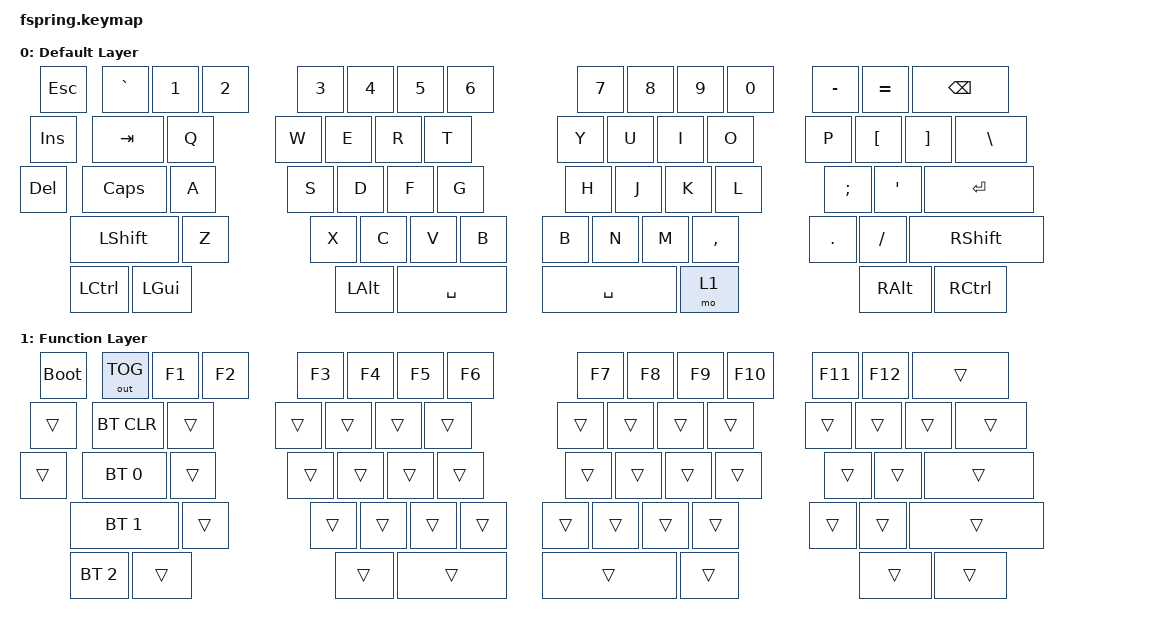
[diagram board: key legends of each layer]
/*
 * Copyright (c) 2021 The ZMK Contributors
 *
 * SPDX-License-Identifier: MIT
 */

#include <behaviors.dtsi>
#include <dt-bindings/zmk/keys.h>
#include <dt-bindings/zmk/bt.h>
#include <dt-bindings/zmk/outputs.h>

/ {
        keymap {
                compatible = "zmk,keymap";

                default_layer {
                        display-name = "Default Layer";

                        bindings = <
   &kp ESC      &kp GRAVE    &kp N1       &kp N2       &kp N3       &kp N4       &kp N5       &kp N6                 &kp N7      &kp N8      &kp N9       &kp N0       &kp MINUS    &kp EQUAL    &kp BSPC
   &kp INSERT   &kp TAB      &kp Q        &kp W        &kp E        &kp R        &kp T                               &kp Y       &kp U       &kp I        &kp O        &kp P        &kp LBKT     &kp RBKT     &kp BSLH
   &kp DELETE   &kp CAPS     &kp A        &kp S        &kp D        &kp F        &kp G                               &kp H       &kp J       &kp K        &kp L        &kp SEMI     &kp SQT      &kp ENTER
                &kp LSHFT    &kp Z        &kp X        &kp C        &kp V        &kp B                               &kp B       &kp N       &kp M        &kp COMMA    &kp DOT      &kp SLASH    &kp RSHFT   
                &kp LCTRL    &kp LGUI                  &kp LALT     &kp SPACE                                                    &kp SPACE                &mo 1                     &kp RALT     &kp RCTRL    
                                >;
                        };

                function_layer {
                        display-name = "Function Layer";

                        bindings = <
   &bootloader  &out OUT_TOG &kp F1       &kp F2       &kp F3       &kp F4       &kp F5       &kp F6                 &kp F7      &kp F8      &kp F9       &kp F10      &kp F11      &kp F12      &trans
   &trans       &bt BT_CLR   &trans       &trans       &trans       &trans       &trans                              &trans      &trans      &trans       &trans       &trans       &trans       &trans       &trans
   &trans       &bt BT_SEL 0 &trans       &trans       &trans       &trans       &trans                              &trans      &trans      &trans       &trans       &trans       &trans       &trans
                &bt BT_SEL 1 &trans       &trans       &trans       &trans       &trans                              &trans      &trans      &trans       &trans       &trans       &trans       &trans       
                &bt BT_SEL 2 &trans                    &trans       &trans                                                       &trans                   &trans                    &trans       &trans    
                                >;
                        };
        };
};
